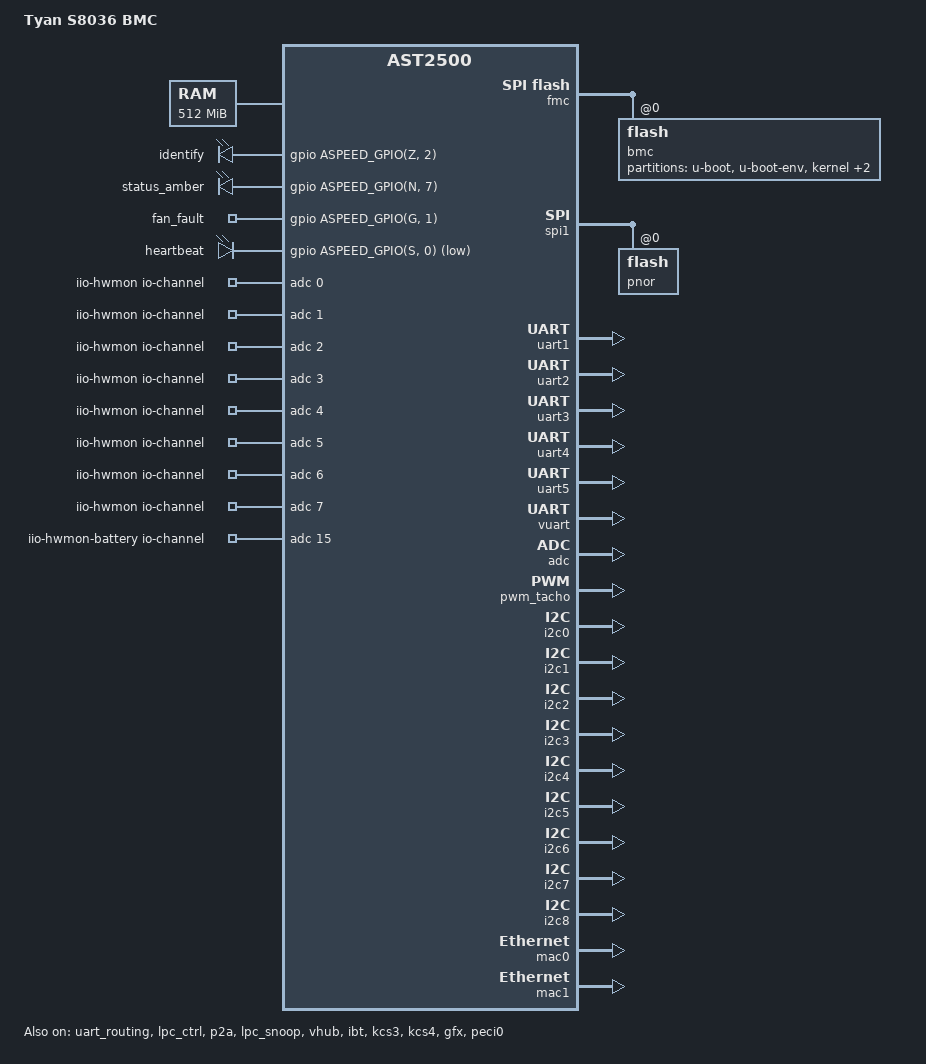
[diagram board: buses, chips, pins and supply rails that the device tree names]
// SPDX-License-Identifier: GPL-2.0+
/dts-v1/;

#include "aspeed-g5.dtsi"
#include <dt-bindings/gpio/aspeed-gpio.h>
#include <dt-bindings/interrupt-controller/irq.h>

/ {
	model = "Tyan S8036 BMC";
	compatible = "tyan,s8036-bmc", "aspeed,ast2500";

	chosen {
		stdout-path = &uart5;
		bootargs = "console=ttyS4,115200 earlycon";
	};

	memory@80000000 {
		device_type = "memory";
		reg = <0x80000000 0x20000000>;
	};

	reserved-memory {
		#address-cells = <1>;
		#size-cells = <1>;
		ranges;

		p2a_memory: region@987f0000 {
			no-map;
			reg = <0x987f0000 0x00010000>; /* 64KB */
		};

		vga_memory: framebuffer@9f000000 {
			no-map;
			reg = <0x9f000000 0x01000000>; /* 16M */
		};

		gfx_memory: framebuffer {
			size = <0x01000000>; /* 16M */
			alignment = <0x01000000>;
			compatible = "shared-dma-pool";
			reusable;
		};
	};

	leds {
		compatible = "gpio-leds";

		identify {
			default-state = "on";
			gpios = <&gpio ASPEED_GPIO(Z, 2) GPIO_ACTIVE_HIGH>;
		};

		status_amber {
			default-state = "off";
			gpios = <&gpio ASPEED_GPIO(N, 7) GPIO_ACTIVE_HIGH>;
		};

		fan_fault {
			default-state = "off";
			gpios = <&gpio ASPEED_GPIO(G, 1) GPIO_ACTIVE_HIGH>;
		};

		heartbeat {
			gpios = <&gpio ASPEED_GPIO(S, 0) GPIO_ACTIVE_LOW>;
		};
	};

	iio-hwmon {
		compatible = "iio-hwmon";
		io-channels = <&adc 0>, <&adc 1>, <&adc 2>, <&adc 3>,
			<&adc 4>, <&adc 5>, <&adc 6>, <&adc 7>,
			<&adc 8>, <&adc 9>, <&adc 10>, <&adc 11>,
			<&adc 12>, <&adc 13>, <&adc 14>;
	};

	iio-hwmon-battery {
		compatible = "iio-hwmon";
		io-channels = <&adc 15>;
	};
};

&fmc {
	status = "okay";
	flash@0 {
		label = "bmc";
		status = "okay";
		m25p,fast-read;
        partitions {
            compatible = "fixed-partitions";
            #address-cells = <1>;
            #size-cells = <1>;

            u-boot@0 {
                reg = <0x0 0x60000>;
                label = "u-boot";
            };

            u-boot-env@60000 {
                reg = <0x60000 0x20000>;
                label = "u-boot-env";
            };

            kernel@80000 {
                reg = <0x80000 0x460000>;
                label = "kernel";
            };

            rofs@4c0000 {
                reg = <0x4e0000 0x1760000>;
                label = "rofs";
            };

            rwfs@1c00000 {
                reg = <0x1c40000 0x3c0000>;
                label = "rwfs";
            };
        };
	};
};

&spi1 {
	status = "okay";
	pinctrl-names = "default";
	pinctrl-0 = <&pinctrl_spi1_default>;

	flash@0 {
		status = "okay";
		label = "pnor";
		m25p,fast-read;
	};
};

&uart1 {
	/* Rear RS-232 connector */
	status = "okay";
	pinctrl-names = "default";
	pinctrl-0 = <&pinctrl_txd1_default
			&pinctrl_rxd1_default>;
};

&uart2 {
	/* RS-232 connector on header */
	status = "okay";
	pinctrl-names = "default";
	pinctrl-0 = <&pinctrl_txd2_default
			&pinctrl_rxd2_default>;
};

&uart3 {
	/* Alternative to vuart to internally connect (route) to uart1
	 * when vuart cannot be used due to BIOS limitations.
	 */
	status = "okay";
};

&uart4 {
	/* Alternative to vuart to internally connect (route) to the
	 * external port usually used by uart1 when vuart cannot be
	 * used due to BIOS limitations.
	 */
	status = "okay";
};

&uart5 {
	/* BMC "debug" (console) UART; connected to RS-232 connector
	 * on header; selectable via jumpers as alternative to uart2
	 */
	status = "okay";
};

&uart_routing {
	status = "okay";
};

&vuart {
	status = "okay";

	/* We enable the VUART here, but leave it in a state that does
	 * not interfere with the SuperIO. The goal is to have both the
	 * VUART and the SuperIO available and decide at runtime whether
	 * the VUART should actually be used. For that reason, configure
	 * an "invalid" IO address and an IRQ that is not used by the
	 * BMC.
	 */
/*	aspeed,lpc-io-reg = <0xffff>;
	aspeed,lpc-interrupts = <15 IRQ_TYPE_LEVEL_HIGH>;
*/
};

&lpc_ctrl {
	status = "okay";
};

&p2a {
	status = "okay";
	memory-region = <&p2a_memory>;
};

&lpc_snoop {
	status = "okay";
	snoop-ports = <0x80>;
};

&adc {
	status = "okay";
};

&vhub {
	status = "okay";
};

&pwm_tacho {
	status = "okay";
	pinctrl-names = "default";
	pinctrl-0 = <&pinctrl_pwm0_default>;

	/* CPU fan */
	fan@0 {
		reg = <0x00>;
		aspeed,fan-tach-ch = /bits/ 8 <0x00>;
	};

	/* PWM group for chassis fans #1, #2, #3 and #4 */
	fan@2 {
		reg = <0x03>;
		aspeed,fan-tach-ch = /bits/ 8 <0x02>;
	};

	fan@3 {
		reg = <0x03>;
		aspeed,fan-tach-ch = /bits/ 8 <0x03>;
	};

	fan@4 {
		reg = <0x03>;
		aspeed,fan-tach-ch = /bits/ 8 <0x04>;
	};

	fan@5 {
		reg = <0x03>;
		aspeed,fan-tach-ch = /bits/ 8 <0x05>;
	};

	/* PWM group for chassis fans #5 and #6  */
	fan@6 {
		reg = <0x04>;
		aspeed,fan-tach-ch = /bits/ 8 <0x06>;
	};

	fan@7 {
		reg = <0x04>;
		aspeed,fan-tach-ch = /bits/ 8 <0x07>;
	};
};

&i2c0 {
	/* Directly connected to Sideband-Temperature Sensor Interface (APML) */
	status = "okay";
};

&i2c1 {
	/* Directly connected to IPMB HDR. */
	status = "okay";
};

&i2c2 {
	status = "okay";

};

&i2c3 {
	status = "okay";

};

&i2c4 {
	status = "okay";
};

&i2c5 {
	status = "okay";

	/* Also connected to:
	 * - PCA9544
	 * - CLK BUFF
	 * - OCP FRU
	 */
};

&i2c6 {
	status = "okay";
	/* Connected to:
	 * - PCA9548 @0xE0
	 * - PCA9548 @0xE2
	 * - PCA9544 @0xE4
	 */
};

&i2c7 {
	status = "okay";

	/* Connected to:
	 * - PCH SMBUS #4
	 */
};

&i2c8 {
	status = "okay";

	/* Not connected */
};

&mac0 {
	status = "okay";
	use-ncsi;
	pinctrl-names = "default";
	pinctrl-0 = <&pinctrl_rmii1_default>;
};

&mac1 {
	status = "okay";
	pinctrl-names = "default";
	pinctrl-0 = <&pinctrl_rgmii2_default &pinctrl_mdio2_default>;
};

&ibt {
	status = "okay";
};

&kcs3 {
	aspeed,lpc-io-reg = <0xCA2>;
	status = "okay";
};

&kcs4 {
	aspeed,lpc-io-reg = <0xCA4>;
	status = "okay";
};

/* Enable BMC VGA output to show an early (pre-BIOS) boot screen */
&gfx {
	status = "okay";
	memory-region = <&gfx_memory>;
};

&peci0 {
	status = "okay";
};

/* We're following the GPIO naming as defined at
 * https://github.com/openbmc/docs/blob/master/designs/device-tree-gpio-naming.md.
 *
 * Notes on led-identify and id-button:
 * - A physical button is connected to id-button which
 *   triggers the clock on a D flip-flop. The /Q output of the
 *   flip-flop drives its D input.
 * - The flip-flop's Q output drives led-identify which is
 *   connected to LEDs.
 * - With that, every button press toggles the LED between on and off.
 *
 * Notes on power-, reset- and nmi- button and control:
 * - The -button signals can be used to monitor physical buttons.
 * - The -control signals can be used to actuate the specific
 *   operation.
 * - In hardware, the -button signals are connected to the -control
 *   signals through drivers with the -control signals being
 *   protected through diodes.
 */
&gpio {
	status = "okay";
	gpio-line-names =
        /*A0-A7*/    "PCH_SMI_ACTIVE_N","MEM_THERM_EVENT_CPU1_N","MEM_THERM_EVENT_CPU2_N","CPU_CATERR_LVT3_N","","","","",
        /*B0-B7*/    "BMC_JTAG_TCK_MUX_SEL","BMC_REMOTE_DEBUG_EN_DET","BMC_PRDY_N","BMC_PWR_DEBUG_N","BMC_PREQ_N","IRQ_BMC_SMI_LPC_N","BMC_PCB_REV_0","",
        /*C0-C7*/    "BMC_I2C_10_SCL","BMC_I2C_10_SDA","BMC_I2C_11_SCL","BMC_I2C_11_SDA","BMC_I2C_12_SCL","BMC_I2C_12_SDA","BMC_I2C_13_SCL","BMC_I2C_13_SDA",
        /*D0-D7*/    "BMC_SD2_CLK","BMC_SD2_CMD","BMC_SD2_DAT0","BMC_SD2_DAT1","BMC_SD2_DAT2","BMC_SD2_DAT3","BMC_SD2_CD_N","BMC_SD2_WP_N",
        /*E0-E7*/    "RESET_BUTTON","","PRDY_N","","","DEBUG_EN_N","","",
        /*F0-F7*/    "CPU1_SKTOCC_LVT3_N","CPU2_SKTOCC_LVT3_N","IRQ_SML0_ALERT_N","BMC_LCD_INT_N_R","CPU1_MEMHOT_OUT_N","CPU2_MEMHOT_OUT_N","SPEAKER_BMC","POWER_BUTTON",
        /*G0-G7*/    "SPI_BIOS_SELECT","SYS_FAN_FAULT_LED","CHASSIS_INTRUSION"/*INTRUDER_N*/,"P3VBAT_BRIDGE_EN","BMC_RST_RTC_N","CPU2_DISABLE_COD","CPLD_PWROK_BMC","ID_BUTTON",
        /*H0-H7*/    "POST_COMPLETE","PS_PWROK","CPU_ERR2_LVT3_N","PCH_BMC_THERMTRIP_N","CPU_MSMI_LVT3_N","BMC_CPLD_OVER_LOAD_N","PSU1_ALERT_N","PSU2_ALERT_N",
        /*I0-I7*/    "PSU1_PRSNT_N","PSU2_PRSNT_N","VR_VENDOR_TYPE","PSU_SMART_ON","BMC_SPI_1_CS0_N","BMC_SPI_1_SCK","BMC_SPI_1_MOSI","BMC_SPI_1_MISO",
        /*J0-J7*/    "BMC_FW_OK","POWER_OUT","RESET_OUT","MUX_ID_LED","","","","",
        /*K0-K7*/    "","","","","","","","",
        /*L0-L7*/    "","","","","","","","",
        /*M0-M7*/    "BMC_JTAG_MUX_S","FM_CPU_DEBUG_EN_LVC3","DIMM_HOT_EVENT_N","BMC_OSP_I2C_RST_N","RST_PCH_RSMRST_N","IRQ_NMI_EVENT_N","BMC_SD_MODULE_RESET_N","BMC_SD_MODULE_R_INT_N",
        /*N0-N7*/    "BMC_PWM_0","","PVCCIN_CPU1_PWR_IN_ALERT_N","PVCCIN_CPU2_PWR_IN_ALERT_N","BMC_FAN_FAULT_LED4","BMC_FAN_FAULT_LED5","","SYS_ALERT_LED",
        /*O0-O7*/    "","","","","","","","",
        /*P0-P7*/    "","","","","","","","",
        /*Q0-Q7*/    "","","","","","","CPU_CATERR","PWR_DEBUG_N"/*PRSNT_N*/,
        /*R0-R7*/    "","XDP_PRST_N","SIO_ONCONTROL","","NMI_OUT","NMI_BUTTON","","PCH_BMC_THERMTRIP",
        /*S0-S7*/    "BMC_FAN_FAULT_LED0","BMC_FAN_FAULT_LED1","BMC_FAN_FAULT_LED2","BMC_FAN_FAULT_LED3","BMC_HW_STRAP_GPIOS4","BMC_HW_STRAP_GPIOS5","BMC_HW_STRAP_GPIOS6","BMC_HW_STRAP_GPIOS7",
        /*T0-T7*/    "","","","","","","","",
        /*U0-U7*/    "","","","","","","","",
        /*V0-V7*/    "","","","","","","","",
        /*W0-W7*/    "","","","","","","","",
        /*X0-X7*/    "","","","","","","","",
        /*Y0-Y7*/    "SIO_S3","SIO_S5","CPU1_PROCHOT_LVC3_N","CPU2_PROCHOT_LVC3_N","","","","",
        /*Z0-Z7*/    "BMC_FAN_FAULT_LED6","SIO_POWER_GOOD","BMC_ID_LED_CTRL","BMC_FAN_FAULT_LED7","BMC_HW_STRAP_GPIOZ4","BMC_HW_STRAP_GPIOZ5","BMC_HW_STRAP_GPIOZ6","BMC_HW_STRAP_GPIOZ7",
        /*AA0-AA7*/  "BMC_FAN_0_PRSNT_N","BMC_FAN_1_PRSNT_N","BMC_FAN_2_PRSNT_N","BMC_FAN_3_PRSNT_N","BMC_FAN_4_PRSNT_N","BMC_FAN_5_PRSNT_N","BMC_FAN_6_PRSNT_N","BMC_FAN_7_PRSNT_N",
        /*AB0-AB7*/  "PVCCIO_CPU1_VR_HOT_N","PVCCIO_CPU2_VR_HOT_N","CPLD_THERMTRIP_BMC_N","BMC_CPLD_WDT_N","","","","",
        /*AC0-AC7*/  "","","","","","","","";
};
